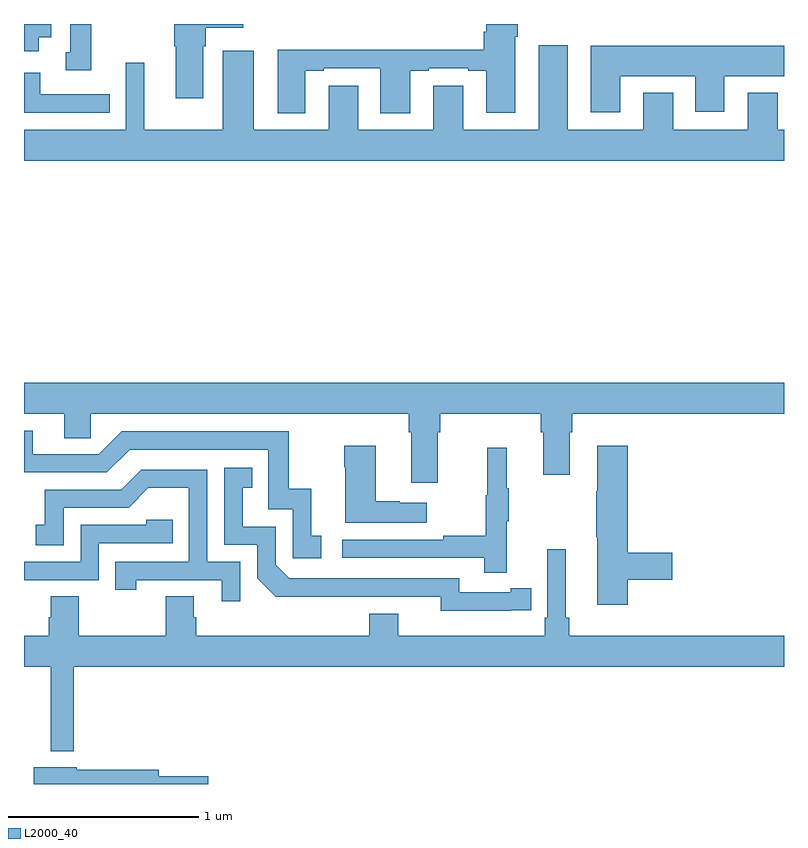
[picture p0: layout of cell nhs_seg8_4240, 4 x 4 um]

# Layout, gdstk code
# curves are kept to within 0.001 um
import gdstk
lib = gdstk.Library(unit=1e-6, precision=1e-09)
def P(c, l, *ps):  # polygons
    for p in ps: c.add(gdstk.Polygon(p, *l))
L2000_40 = (2000, 40)

nhs_seg8_4240 = lib.new_cell('nhs_seg8_4240')
P(nhs_seg8_4240, L2000_40, [(373.033,1103.655),(373.129,1103.655),(373.129,1103.667),(373.337,1103.667),(373.337,1103.655),(373.433,1103.655),(373.433,1103.433),(373.585,1103.433),(373.585,1103.834),(373.598,1103.834),(373.598,1103.9),(373.433,1103.9),(373.433,1103.86),(373.421,1103.86),(373.421,1103.765),(372.335,1103.765),(372.335,1103.43),(372.481,1103.43),(372.481,1103.655),(372.577,1103.655),(372.577,1103.667),(372.875,1103.667),(372.875,1103.429),(373.033,1103.429)],
  [(371.353,1103.9),(371.244,1103.9),(371.244,1103.751),(371.219,1103.751),(371.219,1103.657),(371.353,1103.657)],
  [(371.077,1103.831),(371.143,1103.831),(371.143,1103.9),(371,1103.9),(371,1103.756),(371.077,1103.756)],
  [(371.944,1103.783),(371.957,1103.783),(371.957,1103.88),(372.154,1103.88),(372.154,1103.9),(371.791,1103.9),(371.791,1103.783),(371.798,1103.783),(371.798,1103.508),(371.944,1103.508)],
  [(374.258,1103.539),(374.258,1103.344),(373.861,1103.344),(373.861,1103.788),(373.709,1103.788),(373.709,1103.344),(373.312,1103.344),(373.312,1103.575),(373.154,1103.575),(373.154,1103.344),(372.76,1103.344),(372.76,1103.575),(372.605,1103.575),(372.605,1103.344),(372.208,1103.344),(372.208,1103.758),(372.047,1103.758),(372.047,1103.344),(371.632,1103.344),(371.632,1103.695),(371.535,1103.695),(371.535,1103.344),(371,1103.344),(371,1103.18),(375,1103.18),(375,1103.344),(374.968,1103.344),(374.968,1103.539),(374.81,1103.539),(374.81,1103.344),(374.416,1103.344),(374.416,1103.539)],
  [(374.137,1103.624),(374.534,1103.624),(374.534,1103.439),(374.686,1103.439),(374.686,1103.624),(375,1103.624),(375,1103.785),(373.982,1103.785),(373.982,1103.436),(374.137,1103.436)],
  [(371.45,1103.529),(371.086,1103.529),(371.086,1103.644),(371,1103.644),(371,1103.433),(371.45,1103.433)],
  [(373.177,1101.752),(373.19,1101.752),(373.19,1101.848),(373.721,1101.848),(373.721,1101.752),(373.733,1101.752),(373.733,1101.528),(373.873,1101.528),(373.873,1101.752),(373.886,1101.752),(373.886,1101.848),(375,1101.848),(375,1102.012),(371,1102.012),(371,1101.848),(371.213,1101.848),(371.213,1101.721),(371.352,1101.721),(371.352,1101.848),(373.025,1101.848),(373.025,1101.752),(373.037,1101.752),(373.037,1101.486),(373.177,1101.486)],
  [(372.565,1101.207),(372.512,1101.207),(372.512,1101.454),(372.394,1101.454),(372.394,1101.756),(371.514,1101.756),(371.394,1101.636),(371.047,1101.636),(371.047,1101.759),(371,1101.759),(371,1101.54),(371.436,1101.54),(371.556,1101.66),(372.285,1101.66),(372.285,1101.345),(372.414,1101.345),(372.414,1101.087),(372.565,1101.087)],
  [(373.12,1101.379),(372.977,1101.379),(372.977,1101.389),(372.85,1101.389),(372.85,1101.679),(372.685,1101.679),(372.685,1101.566),(372.692,1101.566),(372.692,1101.275),(373.12,1101.275)],
  [(374.177,1100.974),(374.413,1100.974),(374.413,1101.116),(374.177,1101.116),(374.177,1101.679),(374.018,1101.679),(374.018,1101.44),(374.011,1101.44),(374.011,1101.199),(374.018,1101.199),(374.018,1100.844),(374.177,1100.844)],
  [(373.541,1101.283),(373.552,1101.283),(373.552,1101.457),(373.541,1101.457),(373.541,1101.67),(373.438,1101.67),(373.438,1101.42),(373.431,1101.42),(373.431,1101.206),(373.207,1101.206),(373.207,1101.186),(372.675,1101.186),(372.675,1101.09),(373.423,1101.09),(373.423,1101.012),(373.541,1101.012)],
  [(373.562,1100.814),(373.67,1100.814),(373.67,1100.93),(373.562,1100.93),(373.562,1100.91),(373.29,1100.91),(373.29,1100.982),(372.396,1100.982),(372.324,1101.054),(372.324,1101.255),(372.151,1101.255),(372.151,1101.459),(372.2,1101.459),(372.2,1101.565),(372.054,1101.565),(372.054,1101.159),(372.228,1101.159),(372.228,1100.982),(372.326,1100.885),(373.194,1100.886),(373.194,1100.813)],
  [(372.138,1101.069),(371.964,1101.069),(371.964,1101.555),(371.618,1101.555),(371.513,1101.45),(371.11,1101.45),(371.11,1101.265),(371.061,1101.265),(371.061,1101.156),(371.208,1101.156),(371.208,1101.354),(371.55,1101.354),(371.654,1101.458),(371.868,1101.458),(371.868,1101.069),(371.479,1101.069),(371.479,1100.922),(371.59,1100.922),(371.59,1100.973),(372.041,1100.973),(372.041,1100.862),(372.138,1100.862)],
  [(371.394,1101.168),(371.783,1101.168),(371.783,1101.291),(371.643,1101.291),(371.643,1101.264),(371.298,1101.264),(371.298,1101.069),(371,1101.069),(371,1100.973),(371.394,1100.973)],
  [(371.263,1100.516),(375,1100.516),(375,1100.68),(373.871,1100.68),(373.871,1100.776),(373.852,1100.776),(373.852,1101.136),(373.755,1101.136),(373.755,1100.776),(373.742,1100.776),(373.742,1100.68),(372.97,1100.68),(372.97,1100.797),(372.818,1100.797),(372.818,1100.68),(371.906,1100.68),(371.906,1100.778),(371.893,1100.778),(371.893,1100.888),(371.746,1100.888),(371.746,1100.68),(371.289,1100.68),(371.289,1100.888),(371.141,1100.888),(371.141,1100.778),(371.129,1100.778),(371.129,1100.68),(371,1100.68),(371,1100.516),(371.141,1100.516),(371.141,1100.072),(371.263,1100.072)],
  [(371.971,1099.94),(371.71,1099.94),(371.71,1099.976),(371.278,1099.976),(371.278,1099.987),(371.051,1099.987),(371.051,1099.9),(371.971,1099.9)])

lib.write_gds('nhs_seg8_4240.gds')
